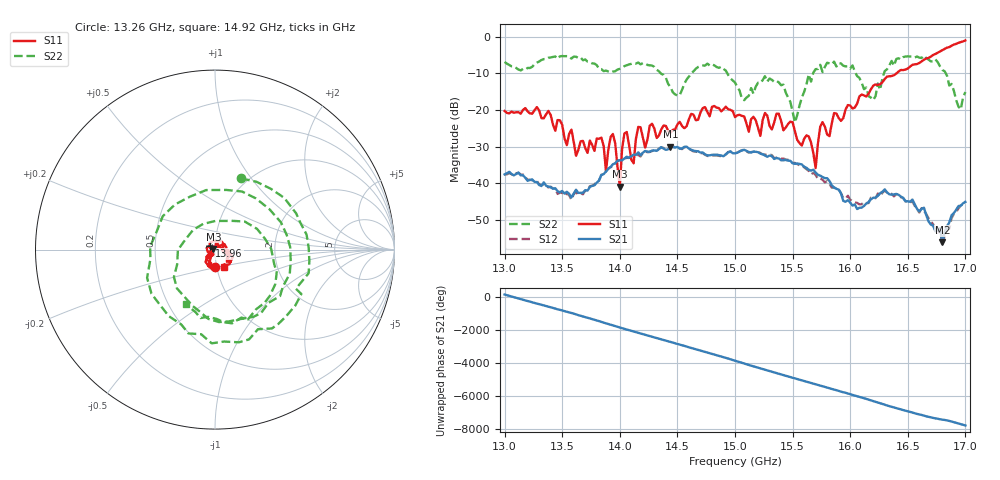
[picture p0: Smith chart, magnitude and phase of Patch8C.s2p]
!Keysight Technologies,P9374A,MY57211810,A.19.30.04
!Date: Friday, May 09, 2025 10:18:13
!Correction: S11(Cdelta 2-Port  )
!S21(Cdelta 2-Port  )
!S12(Cdelta 2-Port  )
!S22(Cdelta 2-Port  )
!S2P File: Measurements: S11, S21, S12, S22:
# Hz S  dB  R 50
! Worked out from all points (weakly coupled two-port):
!   201 points, 13 GHz to 17 GHz, reference 50 ohm
!   highest |S21| = -29.95 dB at 14.44 GHz (marker M1); lowest = -56.1 dB at 16.8 GHz (marker M2)
!   lowest |S11| = -40.9 dB at 14 GHz (marker M3), VSWR 1.02, Z = 49.2 + j0.285 ohm
!   |S11| at or under -10 dB: start of sweep to 16.4 GHz
!   |S22| runs from -23.4 to -5.1 dB; largest |S21 - S12| = 0.0026
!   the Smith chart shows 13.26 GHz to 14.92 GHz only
!   S11 on the Smith chart (normalised r, x): 13.26 GHz: 0.98, -0.20; 13.96 GHz: 0.94, +0.04; 14.92 GHz: 1.09, -0.22
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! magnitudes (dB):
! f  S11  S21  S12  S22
! 13 GHz  -20.2  -37.5  -37.6  -6.9
! 13.26 GHz  -20.0  -39.6  -39.2  -7.5
! 13.68 GHz  -28.4  -42.5  -42.9  -6.4
! 13.84 GHz  -27.5  -37.7  -37.6  -8.8
! 13.88 GHz  -36.7  -36.7  -36.7  -9.2
! 13.96 GHz  -29.1  -34.5  -34.7  -9.4
! 14 GHz  -40.9  -33.7  -33.7  -8.8
! 14.04 GHz  -26.4  -33.2  -33.3  -8.0
! 14.12 GHz  -34.5  -32.1  -32.3  -7.2
! 14.16 GHz  -24.6  -31.5  -32.2  -7.0
! 14.34 GHz  -26.9  -30.6  -30.5  -9.4
! 14.44 GHz  -26.2  -29.9  -29.8  -13.7
! 14.92 GHz  -19.1  -32.0  -32.1  -9.2
! 15 GHz  -21.9  -31.8  -31.7  -12.5
! 15.42 GHz  -25.5  -33.7  -33.2  -13.1
! 15.52 GHz  -25.8  -34.7  -34.4  -23.4
! 15.68 GHz  -31.7  -36.3  -37.1  -9.8
! 16.02 GHz  -19.6  -46.0  -44.9  -7.8
! 16.2 GHz  -13.3  -43.9  -44.0  -17.2
! 16.34 GHz  -10.8  -43.0  -42.9  -7.8
! 16.8 GHz  -3.7  -56.1  -57.1  -9.0
! 17 GHz  -1.0  -45.0  -44.9  -15.1
